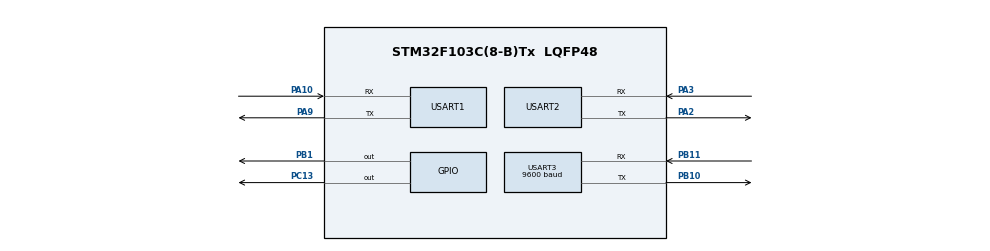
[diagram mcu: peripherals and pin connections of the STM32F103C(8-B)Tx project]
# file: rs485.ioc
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Mcu.Family=STM32F1
Mcu.Name=STM32F103C(8-B)Tx
Mcu.Package=LQFP48
NVIC.PriorityGroup=NVIC_PRIORITYGROUP_4
PA10.Mode=Asynchronous
PA10.Signal=USART1_RX
PA13.Mode=Serial_Wire
PA13.Signal=SYS_JTMS-SWDIO
PA14.Mode=Serial_Wire
PA14.Signal=SYS_JTCK-SWCLK
PA2.Mode=Asynchronous
PA2.Signal=USART2_TX
PA3.Mode=Asynchronous
PA3.Signal=USART2_RX
PA9.Mode=Asynchronous
PA9.Signal=USART1_TX
PB1.Signal=GPIO_Output
PB10.Mode=Asynchronous
PB10.Signal=USART3_TX
PB11.Mode=Asynchronous
PB11.Signal=USART3_RX
PC13-TAMPER-RTC.Signal=GPIO_Output
PC14-OSC32_IN.Mode=LSE-External-Oscillator
PC14-OSC32_IN.Signal=RCC_OSC32_IN
PC15-OSC32_OUT.Mode=LSE-External-Oscillator
PC15-OSC32_OUT.Signal=RCC_OSC32_OUT
PD0-OSC_IN.Mode=HSE-External-Oscillator
PD0-OSC_IN.Signal=RCC_OSC_IN
PD1-OSC_OUT.Mode=HSE-External-Oscillator
PD1-OSC_OUT.Signal=RCC_OSC_OUT
ProjectManager.HeapSize=0x200
ProjectManager.StackSize=0x400
ProjectManager.TargetToolchain=STM32CubeIDE
RCC.APB1Freq_Value=8000000
RCC.APB2Freq_Value=8000000
USART1.VirtualMode=VM_ASYNC
USART2.VirtualMode=VM_ASYNC
USART3.BaudRate=9600
USART3.VirtualMode=VM_ASYNC
board=custom

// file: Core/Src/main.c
/* USER CODE BEGIN Header */
/**
  ******************************************************************************
  * @file           : main.c
  * @brief          : Main program body
  ******************************************************************************
  * @attention
  *
  * Copyright (c) 2026 STMicroelectronics.
  * All rights reserved.
  *
  * This software is licensed under terms that can be found in the LICENSE file
  * in the root directory of this software component.
  * If no LICENSE file comes with this software, it is provided AS-IS.
  *
  ******************************************************************************
  */
/* USER CODE END Header */
#include "main.h"

/* USER CODE BEGIN Includes */
#include "modbus_master.h"
#include "rsi_client.h"
#include "debug_print.h"
/* USER CODE END Includes */

UART_HandleTypeDef huart1;
UART_HandleTypeDef huart2;
UART_HandleTypeDef huart3;

/* USER CODE BEGIN PV */
static RSI_Data_t rsi;
static char       payload[256];
/* USER CODE END PV */

void SystemClock_Config(void);
static void MX_GPIO_Init(void);
static void MX_USART1_UART_Init(void);
static void MX_USART2_UART_Init(void);
static void MX_USART3_UART_Init(void);

int main(void)
{

  /* MCU Configuration--------------------------------------------------------*/

  /* Reset of all peripherals, Initializes the Flash interface and the Systick. */
  HAL_Init();

  /* Configure the system clock */
  SystemClock_Config();

  /* Initialize all configured peripherals */
  MX_GPIO_Init();
  MX_USART1_UART_Init();
  MX_USART2_UART_Init();
  MX_USART3_UART_Init();
  /* USER CODE BEGIN 2 */
  HAL_GPIO_WritePin(GPIOC, GPIO_PIN_13, GPIO_PIN_SET); /* LED off (active low) */
  RSI_Init();
  LOG("RSI master ready");
  /* USER CODE END 2 */

  /* Infinite loop */
  while (1)
  {

    /* USER CODE BEGIN 3 */
    int err = RSI_Poll(&rsi);
    if (err == 0)
    {
        RSI_PrintDebug(&rsi);
        RSI_BuildPayload(&rsi, payload, sizeof(payload));
        LOG("PAYLOAD: %s", payload);

        /* Blink LED: valid bus response */
        HAL_GPIO_WritePin(GPIOC, GPIO_PIN_13, GPIO_PIN_RESET);
        HAL_Delay(100);
        HAL_GPIO_WritePin(GPIOC, GPIO_PIN_13, GPIO_PIN_SET);
    }
    else
    {
        LOG("poll failed (%d)", err);
    }

    HAL_Delay(2000);
  }
  /* USER CODE END 3 */
}

void SystemClock_Config(void)
{
  RCC_OscInitTypeDef RCC_OscInitStruct = {0};
  RCC_ClkInitTypeDef RCC_ClkInitStruct = {0};

  /** Initializes the RCC Oscillators according to the specified parameters
  * in the RCC_OscInitTypeDef structure.
  */
  RCC_OscInitStruct.OscillatorType = RCC_OSCILLATORTYPE_HSI;
  RCC_OscInitStruct.HSIState = RCC_HSI_ON;
  RCC_OscInitStruct.HSICalibrationValue = RCC_HSICALIBRATION_DEFAULT;
  RCC_OscInitStruct.PLL.PLLState = RCC_PLL_NONE;
  if (HAL_RCC_OscConfig(&RCC_OscInitStruct) != HAL_OK)
  {
    Error_Handler();
  }

  /** Initializes the CPU, AHB and APB buses clocks
  */
  RCC_ClkInitStruct.ClockType = RCC_CLOCKTYPE_HCLK|RCC_CLOCKTYPE_SYSCLK
                              |RCC_CLOCKTYPE_PCLK1|RCC_CLOCKTYPE_PCLK2;
  RCC_ClkInitStruct.SYSCLKSource = RCC_SYSCLKSOURCE_HSI;
  RCC_ClkInitStruct.AHBCLKDivider = RCC_SYSCLK_DIV1;
  RCC_ClkInitStruct.APB1CLKDivider = RCC_HCLK_DIV1;
  RCC_ClkInitStruct.APB2CLKDivider = RCC_HCLK_DIV1;

  if (HAL_RCC_ClockConfig(&RCC_ClkInitStruct, FLASH_LATENCY_0) != HAL_OK)
  {
    Error_Handler();
  }
}

static void MX_USART1_UART_Init(void)
{

  huart1.Instance = USART1;
  huart1.Init.BaudRate = 115200;
  huart1.Init.WordLength = UART_WORDLENGTH_8B;
  huart1.Init.StopBits = UART_STOPBITS_1;
  huart1.Init.Parity = UART_PARITY_NONE;
  huart1.Init.Mode = UART_MODE_TX_RX;
  huart1.Init.HwFlowCtl = UART_HWCONTROL_NONE;
  huart1.Init.OverSampling = UART_OVERSAMPLING_16;
  if (HAL_UART_Init(&huart1) != HAL_OK)
  {
    Error_Handler();
  }

}

static void MX_USART2_UART_Init(void)
{

  huart2.Instance = USART2;
  huart2.Init.BaudRate = 115200;
  huart2.Init.WordLength = UART_WORDLENGTH_8B;
  huart2.Init.StopBits = UART_STOPBITS_1;
  huart2.Init.Parity = UART_PARITY_NONE;
  huart2.Init.Mode = UART_MODE_TX_RX;
  huart2.Init.HwFlowCtl = UART_HWCONTROL_NONE;
  huart2.Init.OverSampling = UART_OVERSAMPLING_16;
  if (HAL_UART_Init(&huart2) != HAL_OK)
  {
    Error_Handler();
  }

}

static void MX_USART3_UART_Init(void)
{

  huart3.Instance = USART3;
  huart3.Init.BaudRate = 9600;
  huart3.Init.WordLength = UART_WORDLENGTH_8B;
  huart3.Init.StopBits = UART_STOPBITS_1;
  huart3.Init.Parity = UART_PARITY_NONE;
  huart3.Init.Mode = UART_MODE_TX_RX;
  huart3.Init.HwFlowCtl = UART_HWCONTROL_NONE;
  huart3.Init.OverSampling = UART_OVERSAMPLING_16;
  if (HAL_UART_Init(&huart3) != HAL_OK)
  {
    Error_Handler();
  }

}

static void MX_GPIO_Init(void)
{
  GPIO_InitTypeDef GPIO_InitStruct = {0};

  /* GPIO Ports Clock Enable */
  __HAL_RCC_GPIOC_CLK_ENABLE();
  __HAL_RCC_GPIOD_CLK_ENABLE();
  __HAL_RCC_GPIOA_CLK_ENABLE();
  __HAL_RCC_GPIOB_CLK_ENABLE();

  /*Configure GPIO pin Output Level */
  HAL_GPIO_WritePin(GPIOC, GPIO_PIN_13, GPIO_PIN_RESET);

  /*Configure GPIO pin Output Level */
  HAL_GPIO_WritePin(GPIOB, GPIO_PIN_1, GPIO_PIN_RESET);

  /*Configure GPIO pin : PC13 */
  GPIO_InitStruct.Pin = GPIO_PIN_13;
  GPIO_InitStruct.Mode = GPIO_MODE_OUTPUT_PP;
  GPIO_InitStruct.Pull = GPIO_NOPULL;
  GPIO_InitStruct.Speed = GPIO_SPEED_FREQ_LOW;
  HAL_GPIO_Init(GPIOC, &GPIO_InitStruct);

  /*Configure GPIO pin : PB1 */
  GPIO_InitStruct.Pin = GPIO_PIN_1;
  GPIO_InitStruct.Mode = GPIO_MODE_OUTPUT_PP;
  GPIO_InitStruct.Pull = GPIO_NOPULL;
  GPIO_InitStruct.Speed = GPIO_SPEED_FREQ_LOW;
  HAL_GPIO_Init(GPIOB, &GPIO_InitStruct);

}

void Error_Handler(void)
{
  __disable_irq();
  while (1)
  {
  }
}
